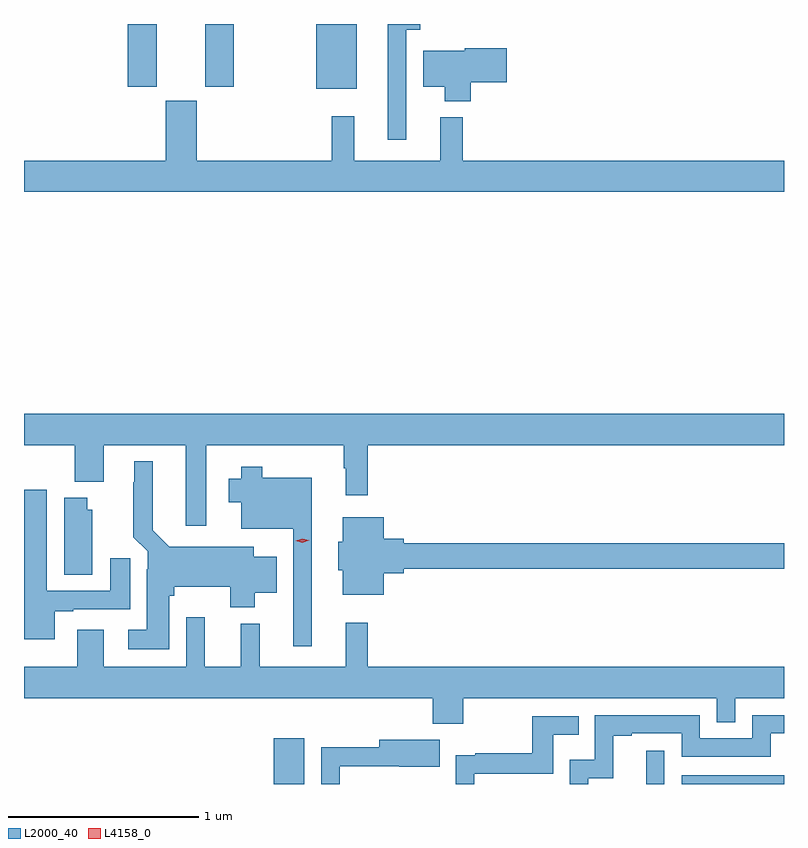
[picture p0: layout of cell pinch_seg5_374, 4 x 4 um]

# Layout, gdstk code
import gdstk
lib = gdstk.Library(unit=1e-6, precision=1e-09)
def R(c, l, rs):  # rectangles x0, y0, x1, y1
    for r in rs: c.add(gdstk.rectangle(r[:2], r[2:], *l))
def P(c, l, *ps):  # polygons
    for p in ps: c.add(gdstk.Polygon(p, *l))
L2000_40 = (2000, 40)
L4158_0 = (4158, 0)

pinch_seg5_374 = lib.new_cell('pinch_seg5_374')
R(pinch_seg5_374, L2000_40, [(1011.62,882.948,1011.781,883.189), (1013.579,882.948,1013.676,883.123), (1013.766,882.948,1014.305,882.993), (1011.842,886.607,1012.057,886.948), (1010.852,886.617,1011.004,886.948), (1011.26,886.617,1011.408,886.948)])
P(pinch_seg5_374, L2000_40, [(1012.317,886.919),(1012.391,886.919),(1012.391,886.948),(1012.22,886.948),(1012.22,886.338),(1012.317,886.338)],
  [(1012.655,886.642),(1012.846,886.642),(1012.846,886.82),(1012.624,886.82),(1012.624,886.807),(1012.406,886.807),(1012.406,886.619),(1012.52,886.619),(1012.52,886.541),(1012.655,886.541)],
  [(1014.305,886.228),(1012.613,886.228),(1012.613,886.456),(1012.496,886.456),(1012.496,886.228),(1012.043,886.228),(1012.043,886.462),(1011.925,886.462),(1011.925,886.228),(1011.214,886.228),(1011.214,886.545),(1011.05,886.545),(1011.05,886.228),(1010.305,886.228),(1010.305,886.064),(1014.305,886.064)],
  [(1011.265,884.732),(1011.987,884.732),(1011.987,884.609),(1011.998,884.609),(1011.998,884.469),(1012.115,884.469),(1012.115,884.732),(1014.305,884.732),(1014.305,884.896),(1010.305,884.896),(1010.305,884.732),(1010.573,884.732),(1010.573,884.54),(1010.725,884.54),(1010.725,884.732),(1011.155,884.732),(1011.155,884.307),(1011.265,884.307)],
  [(1011.07,883.938),(1011.096,883.938),(1011.096,883.985),(1011.391,883.985),(1011.391,883.877),(1011.52,883.877),(1011.52,883.955),(1011.634,883.955),(1011.634,884.143),(1011.514,884.143),(1011.514,884.197),(1011.069,884.197),(1010.983,884.284),(1010.983,884.647),(1010.885,884.647),(1010.885,884.537),(1010.881,884.537),(1010.881,884.246),(1010.955,884.172),(1010.955,884.078),(1010.951,884.078),(1010.951,883.759),(1010.853,883.759),(1010.853,883.658),(1011.07,883.658)],
  [(1011.82,884.56),(1011.559,884.56),(1011.559,884.617),(1011.449,884.617),(1011.449,884.554),(1011.383,884.554),(1011.383,884.432),(1011.449,884.432),(1011.449,884.291),(1011.723,884.291),(1011.723,883.674),(1011.82,883.674)],
  [(1010.467,883.857),(1010.563,883.857),(1010.563,883.869),(1010.863,883.869),(1010.863,884.137),(1010.759,884.137),(1010.759,883.965),(1010.425,883.965),(1010.425,884.497),(1010.305,884.497),(1010.305,883.822),(1010.306,883.822),(1010.306,883.71),(1010.467,883.71)],
  [(1010.665,884.391),(1010.638,884.391),(1010.638,884.455),(1010.516,884.455),(1010.516,884.05),(1010.665,884.05)],
  [(1012.198,884.057),(1012.303,884.057),(1012.303,884.08),(1014.305,884.08),(1014.305,884.216),(1012.303,884.216),(1012.303,884.24),(1012.198,884.24),(1012.198,884.353),(1011.983,884.353),(1011.983,884.223),(1011.959,884.223),(1011.959,884.073),(1011.983,884.073),(1011.983,883.943),(1012.198,883.943)],
  [(1012.457,883.265),(1012.617,883.265),(1012.617,883.4),(1013.952,883.4),(1013.952,883.273),(1014.048,883.273),(1014.048,883.4),(1014.305,883.4),(1014.305,883.564),(1012.115,883.564),(1012.115,883.798),(1011.998,883.798),(1011.998,883.564),(1011.545,883.564),(1011.545,883.792),(1011.446,883.792),(1011.446,883.564),(1011.257,883.564),(1011.257,883.825),(1011.159,883.825),(1011.159,883.564),(1010.725,883.564),(1010.725,883.759),(1010.585,883.759),(1010.585,883.564),(1010.305,883.564),(1010.305,883.4),(1012.457,883.4)],
  [(1013.274,882.977),(1013.407,882.977),(1013.407,883.203),(1013.503,883.203),(1013.503,883.215),(1013.766,883.215),(1013.766,883.092),(1014.234,883.092),(1014.234,883.215),(1014.305,883.215),(1014.305,883.311),(1014.138,883.311),(1014.138,883.188),(1013.862,883.188),(1013.862,883.311),(1013.31,883.311),(1013.31,883.075),(1013.178,883.075),(1013.178,882.948),(1013.274,882.948)],
  [(1012.674,883.002),(1013.091,883.002),(1013.091,883.208),(1013.225,883.208),(1013.225,883.305),(1012.98,883.305),(1012.98,883.111),(1012.681,883.111),(1012.681,883.099),(1012.578,883.099),(1012.578,882.948),(1012.674,882.948)],
  [(1011.966,883.041),(1012.279,883.041),(1012.279,883.04),(1012.493,883.04),(1012.493,883.18),(1012.175,883.18),(1012.175,883.142),(1011.87,883.142),(1011.87,882.948),(1011.966,882.948)])
P(pinch_seg5_374, L4158_0, [(1011.77,884.219),(1011.734,884.227),(1011.734,884.227),(1011.734,884.228),(1011.769,884.239),(1011.805,884.231),(1011.805,884.231),(1011.805,884.231)])

lib.write_gds('pinch_seg5_374.gds')
